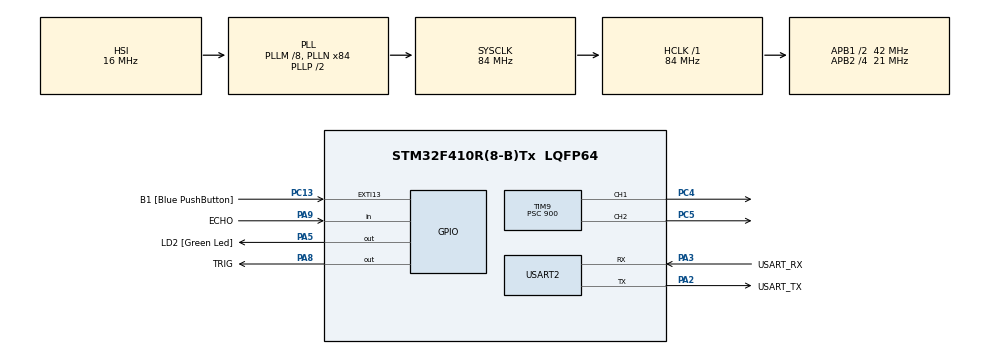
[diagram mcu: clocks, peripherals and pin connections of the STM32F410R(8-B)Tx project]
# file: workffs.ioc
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Mcu.Family=STM32F4
PC15-OSC32_OUT.Mode=LSE-External-Oscillator
VP_TIM5_VS_ClockSourceINT.Mode=Internal
TIM9.Channel-PWM\ Generation1\ CH1=TIM_CHANNEL_1
RCC.CortexFreq_Value=84000000
PC13-ANTI_TAMP.GPIO_Label=B1 [Blue PushButton]
PA9.GPIO_Label=ECHO
PA14.GPIO_Label=TCK
PH1\ -\ OSC_OUT.Mode=HSE-External-Oscillator
PC4.Signal=S_TIM9_CH1
RCC.APB1CLKDivider=RCC_HCLK_DIV2
PC14-OSC32_IN.Signal=RCC_OSC32_IN
RCC.SYSCLKSource=RCC_SYSCLKSOURCE_PLLCLK
ProjectManager.StackSize=0x400
PA3.Mode=Asynchronous
PA13.Signal=SYS_JTMS-SWDIO
PH0\ -\ OSC_IN.Mode=HSE-External-Oscillator
PA8.GPIO_Label=TRIG
PH0\ -\ OSC_IN.Signal=RCC_OSC_IN
ProjectManager.TargetToolchain=STM32CubeIDE
SH.S_TIM9_CH2.0=TIM9_CH2,PWM Generation2 CH2
RCC.HCLKFreq_Value=84000000
RCC.APB2TimFreq_Value=42000000
PA9.Signal=GPIO_Input
PC15-OSC32_OUT.Signal=RCC_OSC32_OUT
RCC.AHBFreq_Value=84000000
PA5.Signal=GPIO_Output
RCC.HSE_VALUE=8000000
PH1\ -\ OSC_OUT.Signal=RCC_OSC_OUT
board=NUCLEO-F410RB
PC13-ANTI_TAMP.Signal=GPXTI13
RCC.VCOOutputFreq_Value=168000000
VP_TIM9_VS_ClockSourceINT.Mode=Internal
RCC.APB2Freq_Value=21000000
PC14-OSC32_IN.Mode=LSE-External-Oscillator
PA14.Mode=Serial_Wire
SH.S_TIM9_CH1.0=TIM9_CH1,PWM Generation1 CH1
PA8.Signal=GPIO_Output
PA13.Mode=Serial_Wire
Mcu.Name=STM32F410R(8-B)Tx
PA2.Signal=USART2_TX
PA13.GPIO_Label=TMS
TIM9.Prescaler=900
RCC.FLatency-AdvancedSettings=FLASH_LATENCY_2
RCC.48MHZClocksFreq_Value=42000000
PB3.Signal=SYS_JTDO-SWO
RCC.SYSCLKFreq_VALUE=84000000
Mcu.Package=LQFP64
PA5.GPIO_Label=LD2 [Green Led]
TIM5.Prescaler=84-1
USART2.VirtualMode=VM_ASYNC
PC13-ANTI_TAMP.GPIO_ModeDefaultEXTI=GPIO_MODE_IT_FALLING
PA2.GPIO_Label=USART_TX
PA14.Signal=SYS_JTCK-SWCLK
ProjectManager.HeapSize=0x200
RCC.HSI_VALUE=16000000
NVIC.PriorityGroup=NVIC_PRIORITYGROUP_0
RCC.APB2CLKDivider=RCC_HCLK_DIV4
RCC.PLLM=8
RCC.PLLN=84
RCC.APB1TimFreq_Value=84000000
PA2.Mode=Asynchronous
TIM5.Period=0
PC5.Signal=S_TIM9_CH2
RCC.APB1Freq_Value=42000000
TIM9.Period=1000
PA3.GPIO_Label=USART_RX
PA3.Signal=USART2_RX
TIM9.Channel-PWM\ Generation2\ CH2=TIM_CHANNEL_2
PB3.GPIO_Label=SWO

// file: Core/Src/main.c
/* USER CODE BEGIN Header */
/*
 *
*/
/* USER CODE END Header */
#include "main.h"

/* USER CODE BEGIN Includes */
#include <stdio.h>
#include <string.h>
#include <math.h>
/* USER CODE END Includes */

/* USER CODE BEGIN PTD */
#define usTIM	TIM5
#define PI 3.14159265
/* USER CODE END PTD */

TIM_HandleTypeDef htim5;
TIM_HandleTypeDef htim9;

UART_HandleTypeDef huart2;

void SystemClock_Config(void);
static void MX_GPIO_Init(void);
static void MX_USART2_UART_Init(void);
static void MX_TIM5_Init(void);
static void MX_TIM9_Init(void);
/* USER CODE BEGIN PFP */
void usDelay(uint32_t uSec);
float measureDistance();
/* USER CODE END PFP */

/* USER CODE BEGIN 0 */
const float speedOfSound = 0.0343/2;
float distance;

char uartBuf[100];
/* USER CODE END 0 */

int main(void)
{
  /* USER CODE BEGIN 1 */
	uint32_t numTicks = 0;
	float servo_angle_base=25.5;
	float servo_angle_joint=75.5;
  /* USER CODE END 1 */

  /* MCU Configuration--------------------------------------------------------*/

  /* Reset of all peripherals, Initializes the Flash interface and the Systick. */
  HAL_Init();

  /* Configure the system clock */
  SystemClock_Config();

  /* Initialize all configured peripherals */
  MX_GPIO_Init();
  MX_USART2_UART_Init();
  MX_TIM5_Init();
  MX_TIM9_Init();
  /* USER CODE BEGIN 2 */
  HAL_TIM_PWM_Start(&htim9, TIM_CHANNEL_1);
  HAL_TIM_PWM_Start(&htim9, TIM_CHANNEL_2);
  /* USER CODE END 2 */

  /* Infinite loop */
  while (1)
  {

    /* USER CODE BEGIN 3 */
	  //Set TRIG to LOW for few uSec
	  		HAL_GPIO_WritePin(TRIG_GPIO_Port, TRIG_Pin, GPIO_PIN_RESET);
	  		usDelay(3);

	  		//*** START Ultrasonic measure routine ***//
	  		//1. Output 10 usec TRIG
	  		HAL_GPIO_WritePin(TRIG_GPIO_Port, TRIG_Pin, GPIO_PIN_SET);
	  		usDelay(10);
	  		HAL_GPIO_WritePin(TRIG_GPIO_Port, TRIG_Pin, GPIO_PIN_RESET);

	  		//2. Wait for ECHO pin rising edge
	  		while(HAL_GPIO_ReadPin(ECHO_GPIO_Port, ECHO_Pin) == GPIO_PIN_RESET);

	  		//3. Start measuring ECHO pulse width in usec
	  		numTicks = 0;
	  		while(HAL_GPIO_ReadPin(ECHO_GPIO_Port, ECHO_Pin) == GPIO_PIN_SET)
	  		{
	  			numTicks++;
	  			usDelay(2); //2.8usec
	  		};

	  		//4. Estimate distance in cm
	  		distance = (numTicks + 0.0f)*2.8*speedOfSound;

	  		//5. Print to UART terminal for debugging
	  		if(distance>150){
	  			HAL_GPIO_TogglePin(GPIOA,GPIO_PIN_5);
	  		}
	  		HAL_UART_Transmit(&huart2, (uint8_t *)uartBuf, strlen(uartBuf), 100);
	  		htim9.Instance->CCR1 = servo_angle_base;
	  		htim9.Instance->CCR2 = servo_angle_joint;
	  		servo_angle_base+=1;
	  		if(servo_angle_base>120){
	  			servo_angle_base=25.5;
	  			servo_angle_joint-=1;
	  		}
	  		double angle=servo_angle_base-25.5;
	  		double x_cord=distance*cos(angle*PI/180);
	  		double y_cord=distance*sin(angle*PI/180);
	  		double angle_2=90-angle;
	  		double z_cord=distance*cos(angle_2*PI/180);
	  		sprintf(uartBuf, "X coordinate of the point  = %.1f; Y coordinate of the point = %.1f; Z coordinate of the point =%.1f \r\n", x_cord, y_cord, z_cord);
	  		HAL_Delay(1000);
	  		  // duty cycle is .5 ms

  }
  /* USER CODE END 3 */
}

void SystemClock_Config(void)
{
  RCC_OscInitTypeDef RCC_OscInitStruct = {0};
  RCC_ClkInitTypeDef RCC_ClkInitStruct = {0};

  /** Configure the main internal regulator output voltage
  */
  __HAL_RCC_PWR_CLK_ENABLE();
  __HAL_PWR_VOLTAGESCALING_CONFIG(PWR_REGULATOR_VOLTAGE_SCALE1);
  /** Initializes the RCC Oscillators according to the specified parameters
  * in the RCC_OscInitTypeDef structure.
  */
  RCC_OscInitStruct.OscillatorType = RCC_OSCILLATORTYPE_HSI;
  RCC_OscInitStruct.HSIState = RCC_HSI_ON;
  RCC_OscInitStruct.HSICalibrationValue = RCC_HSICALIBRATION_DEFAULT;
  RCC_OscInitStruct.PLL.PLLState = RCC_PLL_ON;
  RCC_OscInitStruct.PLL.PLLSource = RCC_PLLSOURCE_HSI;
  RCC_OscInitStruct.PLL.PLLM = 8;
  RCC_OscInitStruct.PLL.PLLN = 84;
  RCC_OscInitStruct.PLL.PLLP = RCC_PLLP_DIV2;
  RCC_OscInitStruct.PLL.PLLQ = 4;
  RCC_OscInitStruct.PLL.PLLR = 2;
  if (HAL_RCC_OscConfig(&RCC_OscInitStruct) != HAL_OK)
  {
    Error_Handler();
  }
  /** Initializes the CPU, AHB and APB buses clocks
  */
  RCC_ClkInitStruct.ClockType = RCC_CLOCKTYPE_HCLK|RCC_CLOCKTYPE_SYSCLK
                              |RCC_CLOCKTYPE_PCLK1|RCC_CLOCKTYPE_PCLK2;
  RCC_ClkInitStruct.SYSCLKSource = RCC_SYSCLKSOURCE_PLLCLK;
  RCC_ClkInitStruct.AHBCLKDivider = RCC_SYSCLK_DIV1;
  RCC_ClkInitStruct.APB1CLKDivider = RCC_HCLK_DIV2;
  RCC_ClkInitStruct.APB2CLKDivider = RCC_HCLK_DIV4;

  if (HAL_RCC_ClockConfig(&RCC_ClkInitStruct, FLASH_LATENCY_2) != HAL_OK)
  {
    Error_Handler();
  }
}

static void MX_TIM5_Init(void)
{

  TIM_ClockConfigTypeDef sClockSourceConfig = {0};
  TIM_MasterConfigTypeDef sMasterConfig = {0};

  htim5.Instance = TIM5;
  htim5.Init.Prescaler = 84-1;
  htim5.Init.CounterMode = TIM_COUNTERMODE_UP;
  htim5.Init.Period = 0;
  htim5.Init.ClockDivision = TIM_CLOCKDIVISION_DIV1;
  htim5.Init.AutoReloadPreload = TIM_AUTORELOAD_PRELOAD_DISABLE;
  if (HAL_TIM_Base_Init(&htim5) != HAL_OK)
  {
    Error_Handler();
  }
  sClockSourceConfig.ClockSource = TIM_CLOCKSOURCE_INTERNAL;
  if (HAL_TIM_ConfigClockSource(&htim5, &sClockSourceConfig) != HAL_OK)
  {
    Error_Handler();
  }
  sMasterConfig.MasterOutputTrigger = TIM_TRGO_RESET;
  sMasterConfig.MasterSlaveMode = TIM_MASTERSLAVEMODE_DISABLE;
  if (HAL_TIMEx_MasterConfigSynchronization(&htim5, &sMasterConfig) != HAL_OK)
  {
    Error_Handler();
  }

}

static void MX_TIM9_Init(void)
{

  TIM_ClockConfigTypeDef sClockSourceConfig = {0};
  TIM_OC_InitTypeDef sConfigOC = {0};

  htim9.Instance = TIM9;
  htim9.Init.Prescaler = 900;
  htim9.Init.CounterMode = TIM_COUNTERMODE_UP;
  htim9.Init.Period = 1000;
  htim9.Init.ClockDivision = TIM_CLOCKDIVISION_DIV1;
  htim9.Init.AutoReloadPreload = TIM_AUTORELOAD_PRELOAD_DISABLE;
  if (HAL_TIM_Base_Init(&htim9) != HAL_OK)
  {
    Error_Handler();
  }
  sClockSourceConfig.ClockSource = TIM_CLOCKSOURCE_INTERNAL;
  if (HAL_TIM_ConfigClockSource(&htim9, &sClockSourceConfig) != HAL_OK)
  {
    Error_Handler();
  }
  if (HAL_TIM_PWM_Init(&htim9) != HAL_OK)
  {
    Error_Handler();
  }
  sConfigOC.OCMode = TIM_OCMODE_PWM1;
  sConfigOC.Pulse = 0;
  sConfigOC.OCPolarity = TIM_OCPOLARITY_HIGH;
  sConfigOC.OCFastMode = TIM_OCFAST_DISABLE;
  if (HAL_TIM_PWM_ConfigChannel(&htim9, &sConfigOC, TIM_CHANNEL_1) != HAL_OK)
  {
    Error_Handler();
  }
  if (HAL_TIM_PWM_ConfigChannel(&htim9, &sConfigOC, TIM_CHANNEL_2) != HAL_OK)
  {
    Error_Handler();
  }
  HAL_TIM_MspPostInit(&htim9);

}

static void MX_USART2_UART_Init(void)
{

  huart2.Instance = USART2;
  huart2.Init.BaudRate = 115200;
  huart2.Init.WordLength = UART_WORDLENGTH_8B;
  huart2.Init.StopBits = UART_STOPBITS_1;
  huart2.Init.Parity = UART_PARITY_NONE;
  huart2.Init.Mode = UART_MODE_TX_RX;
  huart2.Init.HwFlowCtl = UART_HWCONTROL_NONE;
  huart2.Init.OverSampling = UART_OVERSAMPLING_16;
  if (HAL_UART_Init(&huart2) != HAL_OK)
  {
    Error_Handler();
  }

}

static void MX_GPIO_Init(void)
{
  GPIO_InitTypeDef GPIO_InitStruct = {0};

  /* GPIO Ports Clock Enable */
  __HAL_RCC_GPIOC_CLK_ENABLE();
  __HAL_RCC_GPIOH_CLK_ENABLE();
  __HAL_RCC_GPIOA_CLK_ENABLE();
  __HAL_RCC_GPIOB_CLK_ENABLE();

  /*Configure GPIO pin Output Level */
  HAL_GPIO_WritePin(GPIOA, LD2_Pin|TRIG_Pin, GPIO_PIN_RESET);

  /*Configure GPIO pin : B1_Pin */
  GPIO_InitStruct.Pin = B1_Pin;
  GPIO_InitStruct.Mode = GPIO_MODE_IT_FALLING;
  GPIO_InitStruct.Pull = GPIO_NOPULL;
  HAL_GPIO_Init(B1_GPIO_Port, &GPIO_InitStruct);

  /*Configure GPIO pins : LD2_Pin TRIG_Pin */
  GPIO_InitStruct.Pin = LD2_Pin|TRIG_Pin;
  GPIO_InitStruct.Mode = GPIO_MODE_OUTPUT_PP;
  GPIO_InitStruct.Pull = GPIO_NOPULL;
  GPIO_InitStruct.Speed = GPIO_SPEED_FREQ_LOW;
  HAL_GPIO_Init(GPIOA, &GPIO_InitStruct);

  /*Configure GPIO pin : ECHO_Pin */
  GPIO_InitStruct.Pin = ECHO_Pin;
  GPIO_InitStruct.Mode = GPIO_MODE_INPUT;
  GPIO_InitStruct.Pull = GPIO_NOPULL;
  HAL_GPIO_Init(ECHO_GPIO_Port, &GPIO_InitStruct);

}

/* USER CODE BEGIN 4 */
void usDelay(uint32_t uSec){
	if(uSec < 2) uSec = 2;
	usTIM->ARR = uSec - 1; 	/*sets the value in the auto-reload register*/
	usTIM->EGR = 1; 			/*Re-initialises the timer*/
	usTIM->SR &= ~1; 		//Resets the flag
	usTIM->CR1 |= 1; 		//Enables the counter
	while((usTIM->SR&0x0001) != 1);
	usTIM->SR &= ~(0x0001);
}

/* USER CODE END 4 */

void Error_Handler(void)
{
  __disable_irq();
  while (1)
  {
  }
}

/************************ (C) COPYRIGHT STMicroelectronics *****END OF FILE****/
